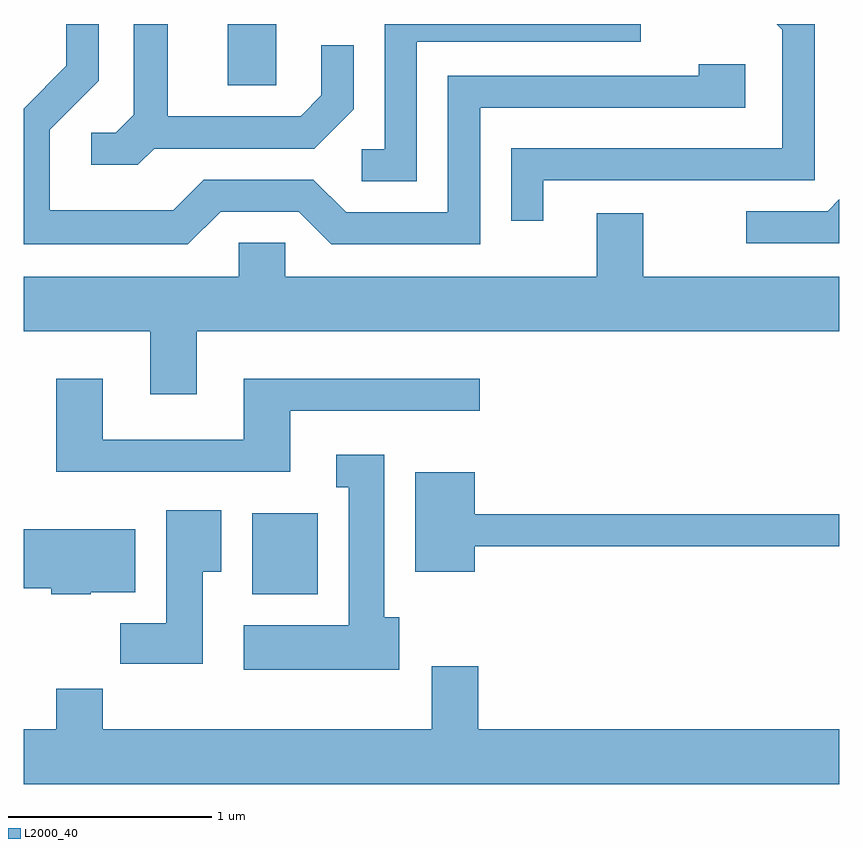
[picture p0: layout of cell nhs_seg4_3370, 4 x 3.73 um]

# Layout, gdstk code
import gdstk
lib = gdstk.Library(unit=1e-6, precision=1e-09)
def R(c, l, rs):  # rectangles x0, y0, x1, y1
    for r in rs: c.add(gdstk.rectangle(r[:2], r[2:], *l))
def P(c, l, *ps):  # polygons
    for p in ps: c.add(gdstk.Polygon(p, *l))
L2000_40 = (2000, 40)

nhs_seg4_3370 = lib.new_cell('nhs_seg4_3370')
R(nhs_seg4_3370, L2000_40, [(284.731,1331.186,285.054,1331.584), (284.611,1333.681,284.849,1333.982)])
P(nhs_seg4_3370, L2000_40, [(286.159,1333.216),(287.489,1333.216),(287.489,1333.982),(287.303,1333.982),(287.331,1333.954),(287.331,1333.374),(286.001,1333.374),(286.001,1333.018),(286.159,1333.018)],
  [(284.252,1333.371),(285.037,1333.371),(285.229,1333.564),(285.229,1333.878),(285.071,1333.878),(285.071,1333.632),(284.969,1333.529),(284.319,1333.529),(284.319,1333.982),(284.151,1333.982),(284.151,1333.537),(284.064,1333.449),(283.943,1333.449),(283.943,1333.291),(284.172,1333.291)],
  [(284.577,1333.061),(284.959,1333.061),(285.119,1332.901),(285.849,1332.901),(285.849,1333.571),(287.149,1333.571),(287.149,1333.784),(286.921,1333.784),(286.921,1333.729),(285.691,1333.729),(285.691,1333.059),(285.192,1333.059),(285.032,1333.219),(284.494,1333.219),(284.344,1333.069),(283.739,1333.069),(283.739,1333.464),(283.979,1333.704),(283.979,1333.982),(283.821,1333.982),(283.821,1333.777),(283.611,1333.567),(283.611,1332.901),(284.417,1332.901)],
  [(285.539,1333.896),(286.638,1333.896),(286.638,1333.982),(285.381,1333.982),(285.381,1333.369),(285.268,1333.369),(285.268,1333.211),(285.539,1333.211)],
  [(287.611,1333.122),(287.554,1333.064),(287.153,1333.064),(287.153,1332.906),(287.611,1332.906)],
  [(284.459,1332.476),(287.611,1332.476),(287.611,1332.744),(286.649,1332.744),(286.649,1333.054),(286.421,1333.054),(286.421,1332.744),(284.894,1332.744),(284.894,1332.909),(284.666,1332.909),(284.666,1332.744),(283.611,1332.744),(283.611,1332.476),(284.231,1332.476),(284.231,1332.166),(284.459,1332.166)],
  [(284.919,1332.086),(285.848,1332.086),(285.848,1332.244),(284.691,1332.244),(284.691,1331.944),(283.999,1331.944),(283.999,1332.244),(283.771,1332.244),(283.771,1331.786),(284.919,1331.786)],
  [(285.454,1331.074),(285.379,1331.074),(285.379,1331.869),(285.143,1331.869),(285.143,1331.711),(285.206,1331.711),(285.206,1331.034),(284.691,1331.034),(284.691,1330.816),(285.454,1330.816)],
  [(285.824,1331.421),(287.611,1331.421),(287.611,1331.579),(285.824,1331.579),(285.824,1331.784),(285.531,1331.784),(285.531,1331.296),(285.824,1331.296)],
  [(284.489,1331.296),(284.579,1331.296),(284.579,1331.599),(284.311,1331.599),(284.311,1331.044),(284.086,1331.044),(284.086,1330.846),(284.489,1330.846)],
  [(283.94,1331.196),(284.159,1331.196),(284.159,1331.504),(283.611,1331.504),(283.611,1331.216),(283.746,1331.216),(283.746,1331.186),(283.94,1331.186)],
  [(287.611,1330.524),(285.839,1330.524),(285.839,1330.834),(285.611,1330.834),(285.611,1330.524),(283.999,1330.524),(283.999,1330.724),(283.771,1330.724),(283.771,1330.524),(283.611,1330.524),(283.611,1330.256),(287.611,1330.256)])

lib.write_gds('nhs_seg4_3370.gds')
